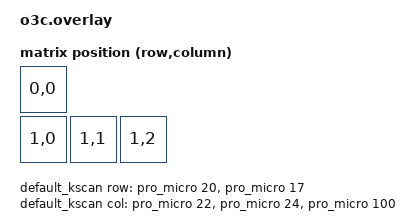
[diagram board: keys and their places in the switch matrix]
#include <dt-bindings/zmk/matrix_transform.h>
#CONFIG_EC11=y
#CONFIG_EC11_TRIGGER_GLOBAL_THREAD=y

/ {
    chosen {
        zmk,kscan = &default_kscan;
        zmk,matrix_transform = &default_transform;
    };

    default_kscan: kscan {
        compatible = "zmk,kscan-gpio-matrix";
        label = "default_kscan";
        diode_derection = "col2row";

        row-gpios = <&pro_micro 20 (GPIO_ACTIVE_HIGH | GPIO_PULL_DOWN)>,
                    <&pro_micro 17 (GPIO_ACTIVE_HIGH | GPIO_PULL_DOWN)>;

        col-gpios = <&pro_micro 22 GPIO_ACTIVE_HIGH>,
                    <&pro_micro 24 GPIO_ACTIVE_HIGH>,
                    <&pro_micro 100 GPIO_ACTIVE_HIGH>;
    };

    left_encoder: encoder_left {
        compatible = "alps,ec11";
        a-gpios = <PIN_29 (GPIO_ACTIVE_HIGH | GPIO_PULL_UP)>;
        b-gpios = <PIN_31 (GPIO_ACTIVE_HIGH | GPIO_PULL_UP)>;
        steps = <80>;
        status = "okay";
    };

    sensors: sensors {
        compatible = "zmk,keymap-sensors";
        sensors = <&left_encoder>;
        triggers-per-rotation = <20>;
    };

    default_transform: matrix_transform {
        compatible = "zmk,matrix-transfrom";
        rows = <2>;
        colums = <3>;

        map = <
            RC(0,0)
            RC(1,0) RC(1,1) RC(1,2)
        >;
    };
};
